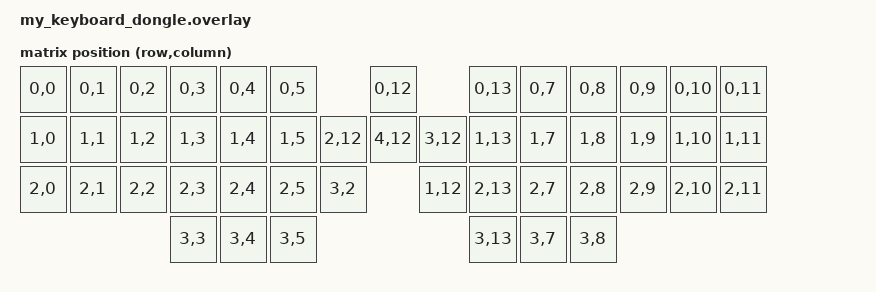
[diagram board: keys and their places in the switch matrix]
#include <dt-bindings/zmk/matrix_transform.h>

/ {
    chosen {
        zmk,kscan = &mock_kscan;
        zmk,physical-layout = &physical_layout0;
    };
        /* Enable I2C0 and set frequency via standard define */
        &i2c0 {
            status = "okay";
            clock-frequency = <I2C_BITRATE_STANDARD>;
            pinctrl-0 = <&i2c0_default>;
            pinctrl-names = "default";
        };
        
        /* Pick the actual pins your dongle uses for OLED (examples shown) */
        &pinctrl {
            i2c0_default: i2c0_default {
                group1 {
                    /* Example: TWIM SCL on P0.03, SDA on P0.02 — adjust as needed */
                    psels = <NRF_PSEL(TWIM_SCL, 0, 3)>, <NRF_PSEL(TWIM_SDA, 0, 2)>;
                    bias-pull-up;
                };
            };
        };
    mock_kscan: mock_kscan_0 {
        compatible = "zmk,kscan-mock";
        columns = <0>;
        rows = <0>;
        events = <0>;
    };

    physical_layout0: physical_layout_0 {
        compatible = "zmk,physical-layout";
        display-name = "Default Layout";
        transform = <&default_transform>;
    };

    default_transform: keymap_transform_0 {
        compatible = "zmk,matrix-transform";
        columns = <14>;
        rows = <5>;
        map = <
            RC(0,0) RC(0,1) RC(0,2) RC(0,3) RC(0,4) RC(0,5)                      RC(0,12)           RC(0,13) RC(0,7) RC(0,8) RC(0,9) RC(0,10) RC(0,11)
            RC(1,0) RC(1,1) RC(1,2) RC(1,3) RC(1,4) RC(1,5)             RC(2,12) RC(4,12) RC(3,12)  RC(1,13) RC(1,7) RC(1,8) RC(1,9) RC(1,10) RC(1,11)
            RC(2,0) RC(2,1) RC(2,2) RC(2,3) RC(2,4) RC(2,5) RC(3,2)              RC(1,12)           RC(2,13) RC(2,7) RC(2,8) RC(2,9) RC(2,10) RC(2,11)
                                    RC(3,3) RC(3,4) RC(3,5)                                         RC(3,13) RC(3,7) RC(3,8)
        >;
    };
};

/* Enable the Pro Micro I2C bus used by nice!nano; pins come from pinctrl */
&pro_micro_i2c {
    status = "okay";
    /* Optional: uncomment to change speed
     * clock-frequency = <I2C_BITRATE_STANDARD>; // or I2C_BITRATE_FAST
     */
}
